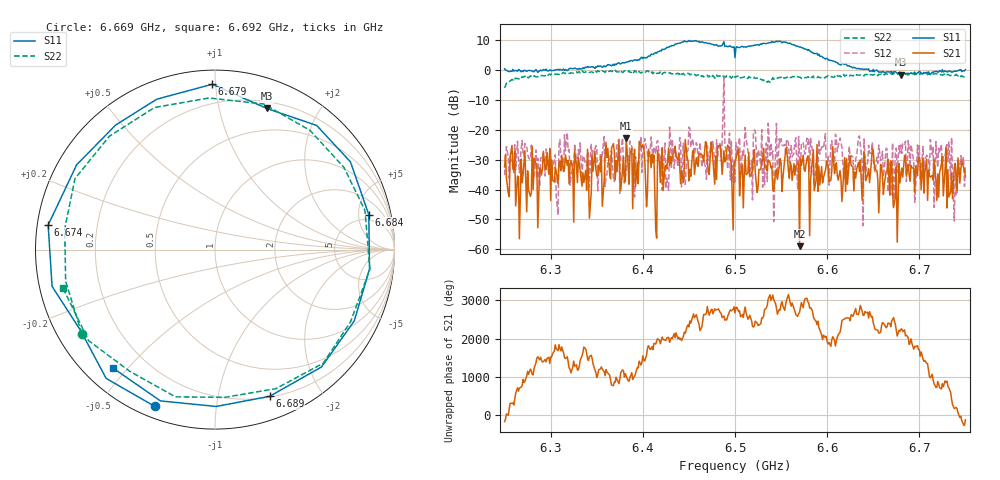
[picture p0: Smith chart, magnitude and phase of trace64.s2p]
# Hz S RI R 50
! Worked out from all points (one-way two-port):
!   401 points, 6.25 GHz to 6.75 GHz, reference 50 ohm
!   highest |S21| = -22.75 dB at 6.382 GHz (marker M1); lowest = -59.0 dB at 6.57 GHz (marker M2)
!   lowest |S11| = -1.5 dB at 6.68 GHz (marker M3), VSWR 11.32, Z = 13.3 + j70 ohm
!   |S11| at or under -10 dB: nowhere
!   |S22| runs from -6.0 to -0.1 dB; largest |S21 - S12| = 0.79
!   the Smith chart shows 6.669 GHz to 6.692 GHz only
!   S11 on the Smith chart (normalised r, x): 6.669 GHz: 0.05, -0.69; 6.674 GHz: 0.03, +0.07; 6.679 GHz: 0.08, +0.98; 6.684 GHz: 3.91, +6.68; 6.689 GHz: 0.21, -1.42; 6.692 GHz: 0.08, -0.46
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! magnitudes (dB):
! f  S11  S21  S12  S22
! 6.25 GHz  0.4  -32.4  -35.2  -6.0
! 6.334 GHz  0.4  -38.9  -37.7  -0.2
! 6.382 GHz  2.6  -22.8  -33.4  -0.6
! 6.399 GHz  4.3  -26.1  -34.3  -0.8
! 6.418 GHz  6.3  -31.1  -29.0  -1.1
! 6.445 GHz  9.7  -33.2  -36.8  -1.6
! 6.452 GHz  9.6  -35.6  -25.8  -1.5
! 6.466 GHz  9.1  -30.7  -30.1  -2.4
! 6.486 GHz  8.1  -35.0  -24.4  -2.0
! 6.5 GHz  4.1  -30.9  -38.0  -2.2
! 6.57 GHz  7.6  -59.0  -29.6  -2.4
! 6.584 GHz  5.8  -29.9  -27.0  -2.5
! 6.611 GHz  2.5  -35.4  -27.4  -1.9
! 6.668 GHz  -0.7  -41.9  -31.0  -1.1
! 6.669 GHz  -0.6  -30.4  -41.8  -1.1
! 6.674 GHz  -0.5  -42.5  -27.7  -1.3
! 6.679 GHz  -0.7  -37.8  -27.8  -1.4
! 6.68 GHz  -1.5  -35.4  -25.1  -1.4
! 6.684 GHz  -1.1  -28.6  -25.2  -1.4
! 6.689 GHz  -1.2  -35.1  -26.3  -1.4
! 6.692 GHz  -1.2  -32.7  -26.8  -1.2
! 6.75 GHz  0.1  -35.8  -31.8  -2.6
